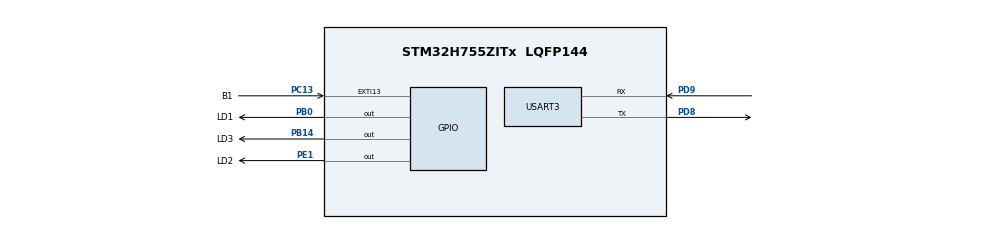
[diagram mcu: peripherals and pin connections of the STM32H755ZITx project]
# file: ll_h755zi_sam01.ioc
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CortexM4.IPs=BDMA,CORTEX_M4\:I,DMA,FATFS_M4\:I,FREERTOS_M4\:I,GPIO,IWDG2\:I,MDMA,NVIC2\:I,OPENAMP_M4\:I,PDM2PCM_M4\:I,PWR,RCC,RESMGR_UTILITY,SYS_M4\:I,USB_DEVICE_M4\:I,USB_HOST_M4\:I,VREFBUF,WWDG2\:I
CortexM4.Pins=PC13,PB0,PB14
CortexM7.IPs=BDMA\:I,CORTEX_M7\:I,DMA\:I,FATFS_M7\:I,FREERTOS_M7\:I,GPIO\:I,IWDG1\:I,MDMA\:I,NVIC1\:I,OPENAMP_M7\:I,PDM2PCM_M7\:I,PWR\:I,RCC\:I,RESMGR_UTILITY\:I,SYS\:I,USB_DEVICE_M7\:I,USB_HOST_M7\:I,VREFBUF\:I,WWDG1\:I,USART3\:I
CortexM7.Pins=PE1
Mcu.Family=STM32H7
Mcu.Name=STM32H755ZITx
Mcu.Package=LQFP144
NVIC1.PriorityGroup=NVIC_PRIORITYGROUP_4
NVIC1.USART3_IRQn=true\:0\:0\:false\:false\:true\:true\:true\:true
NVIC2.EXTI15_10_IRQn=true\:0\:0\:false\:false\:true\:true\:true\:true
NVIC2.PriorityGroup=NVIC_PRIORITYGROUP_4
PB0.GPIO_Label=LD1
PB0.PinAttribute=CortexM4
PB0.Signal=GPIO_Output
PB14.GPIO_Label=LD3
PB14.PinAttribute=CortexM4
PB14.Signal=GPIO_Output
PC13.GPIO_Label=B1
PC13.PinAttribute=CortexM4
PC13.Signal=GPXTI13
PD8.Mode=Asynchronous
PD8.PinAttribute=CortexM7
PD8.Signal=USART3_TX
PD9.Mode=Asynchronous
PD9.PinAttribute=CortexM7
PD9.Signal=USART3_RX
PE1.GPIO_Label=LD2
PE1.PinAttribute=CortexM7
PE1.Signal=GPIO_Output
ProjectManager.HeapSize=M4-0x200,M7-0x200
ProjectManager.StackSize=M4-0x400,M7-0x400
ProjectManager.TargetToolchain=STM32CubeIDE
RCC.ADCFreq_Value=129000000
RCC.APB1Freq_Value=100000000
RCC.APB2Freq_Value=100000000
RCC.APB3Freq_Value=100000000
RCC.APB4Freq_Value=100000000
RCC.CortexFreq_Value=400000000
RCC.D1PPRE=RCC_APB3_DIV2
RCC.D2PPRE1=RCC_APB1_DIV2
RCC.D2PPRE2=RCC_APB2_DIV2
RCC.D3PPRE=RCC_APB4_DIV2
RCC.DIVM1=4
RCC.DIVN1=50
RCC.HCLKFreq_Value=200000000
RCC.HPRE=RCC_HCLK_DIV2
RCC.SYSCLKFreq_VALUE=400000000
RCC.SYSCLKSource=RCC_SYSCLKSOURCE_PLLCLK
RCC.SupplySource=PWR_DIRECT_SMPS_SUPPLY
RCC.USBFreq_Value=400000000
SYS.userName=SYS_M7
USART3.VirtualMode-Asynchronous=VM_ASYNC
VP_SYS_M4_VS_Systick.Mode=SysTick
board=custom

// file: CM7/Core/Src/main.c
/* USER CODE BEGIN Header */
/**
  ******************************************************************************
  * @file           : main.c
  * @brief          : Main program body
  ******************************************************************************
  * @attention
  *
  * Copyright (c) 2024 STMicroelectronics.
  * All rights reserved.
  *
  * This software is licensed under terms that can be found in the LICENSE file
  * in the root directory of this software component.
  * If no LICENSE file comes with this software, it is provided AS-IS.
  *
  ******************************************************************************
  */
/* USER CODE END Header */
#include "main.h"

/* USER CODE BEGIN Includes */
#include "drv.h"
#include "lib.h"
/* USER CODE END Includes */

/* USER CODE BEGIN PD */

#ifndef HSEM_ID_0
#define HSEM_ID_0 (0U) /* HW semaphore 0*/
#endif

/* USER CODE END PD */

/* USER CODE BEGIN PV */
volatile static uint32_t u32s_CycleTimeCounter;		/* 周期時間カウンター			*/
/* USER CODE END PV */

void SystemClock_Config(void);
static void MX_GPIO_Init(void);
static void MX_USART3_UART_Init(void);

/* USER CODE BEGIN 0 */

/**
  * @brief  SysTickタイマ経過コールバック関数
  * @param  None
  * @retval None
  */
void SYSTICK_PeriodElapsed_Callback(void)
{
	u32s_CycleTimeCounter++;
}

/* USER CODE END 0 */

int main(void)
{

  /* MCU Configuration--------------------------------------------------------*/

  /* Reset of all peripherals, Initializes the Flash interface and the Systick. */
  LL_APB4_GRP1_EnableClock(LL_APB4_GRP1_PERIPH_SYSCFG);

  /* System interrupt init*/
  NVIC_SetPriorityGrouping(NVIC_PRIORITYGROUP_4);

  /* SysTick_IRQn interrupt configuration */
  NVIC_SetPriority(SysTick_IRQn, NVIC_EncodePriority(NVIC_GetPriorityGrouping(),15, 0));

  /* USER CODE BEGIN Init */
	u32s_CycleTimeCounter = 0;
  /* USER CODE END Init */

  /* Configure the system clock */
  SystemClock_Config();

  /* USER CODE BEGIN SysInit */
	/* HSEMのクロックを有効化 */
	LL_AHB4_GRP1_EnableClock(LL_AHB4_GRP1_PERIPH_HSEM);

	/* タイマー初期化処理 */
	taskTimerInit();
  /* USER CODE END SysInit */

  /* Initialize all configured peripherals */
  MX_GPIO_Init();
  MX_USART3_UART_Init();
  /* USER CODE BEGIN 2 */
	/* UARTドライバー初期化処理 */
	taskUartDriverInit();
	/* SYNCドライバー初期化処理 */
	taskSyncDriverInit();
	/* 初期化関数 */
	setup();

	/* SysTickタイマー開始(1msタイマー割り込み用) */
	LL_SYSTICK_EnableIT();
  /* USER CODE END 2 */

  /* Infinite loop */
  /* USER CODE BEGIN WHILE */
	while (true) {
    /* USER CODE END WHILE */

    /* USER CODE BEGIN 3 */
		/* 周期時間カウンターがシステムの周期時間[ms]に達した場合 */
		if (u32s_CycleTimeCounter >= SYS_CYCLE_TIME) {
			/* Disable Interrupts */
			__disable_irq();
			u32s_CycleTimeCounter = 0;
			/* Enable Interrupts */
			__enable_irq();

			/* タイマー更新処理 */
			taskTimerUpdate();
			/* UARTドライバー入力処理 */
			taskUartDriverInput();
			/* SYNCドライバー入力処理 */
			taskSyncDriverInput();
			/* 周期処理関数 */
			loop();
			/* UARTドライバー出力処理 */
			taskUartDriverOutput();
			/* SYNCドライバー出力処理 */
			taskSyncDriverOutput();
		}
	}
  /* USER CODE END 3 */
}

void SystemClock_Config(void)
{
  LL_FLASH_SetLatency(LL_FLASH_LATENCY_2);
  while(LL_FLASH_GetLatency()!= LL_FLASH_LATENCY_2)
  {
  }
  LL_PWR_ConfigSupply(LL_PWR_DIRECT_SMPS_SUPPLY);
  LL_PWR_SetRegulVoltageScaling(LL_PWR_REGU_VOLTAGE_SCALE1);
  while (LL_PWR_IsActiveFlag_VOS() == 0)
  {
  }
  LL_RCC_HSI_Enable();

   /* Wait till HSI is ready */
  while(LL_RCC_HSI_IsReady() != 1)
  {

  }
  LL_RCC_HSI_SetCalibTrimming(64);
  LL_RCC_HSI_SetDivider(LL_RCC_HSI_DIV1);
  LL_RCC_PLL_SetSource(LL_RCC_PLLSOURCE_HSI);
  LL_RCC_PLL1P_Enable();
  LL_RCC_PLL1_SetVCOInputRange(LL_RCC_PLLINPUTRANGE_8_16);
  LL_RCC_PLL1_SetVCOOutputRange(LL_RCC_PLLVCORANGE_WIDE);
  LL_RCC_PLL1_SetM(4);
  LL_RCC_PLL1_SetN(50);
  LL_RCC_PLL1_SetP(2);
  LL_RCC_PLL1_SetQ(2);
  LL_RCC_PLL1_SetR(2);
  LL_RCC_PLL1_Enable();

   /* Wait till PLL is ready */
  while(LL_RCC_PLL1_IsReady() != 1)
  {
  }

   /* Intermediate AHB prescaler 2 when target frequency clock is higher than 80 MHz */
   LL_RCC_SetAHBPrescaler(LL_RCC_AHB_DIV_2);

  LL_RCC_SetSysClkSource(LL_RCC_SYS_CLKSOURCE_PLL1);

   /* Wait till System clock is ready */
  while(LL_RCC_GetSysClkSource() != LL_RCC_SYS_CLKSOURCE_STATUS_PLL1)
  {

  }
  LL_RCC_SetSysPrescaler(LL_RCC_SYSCLK_DIV_1);
  LL_RCC_SetAHBPrescaler(LL_RCC_AHB_DIV_2);
  LL_RCC_SetAPB1Prescaler(LL_RCC_APB1_DIV_2);
  LL_RCC_SetAPB2Prescaler(LL_RCC_APB2_DIV_2);
  LL_RCC_SetAPB3Prescaler(LL_RCC_APB3_DIV_2);
  LL_RCC_SetAPB4Prescaler(LL_RCC_APB4_DIV_2);

  LL_Init1msTick(400000000);

  LL_SetSystemCoreClock(400000000);
}

static void MX_USART3_UART_Init(void)
{

  LL_USART_InitTypeDef USART_InitStruct = {0};

  LL_GPIO_InitTypeDef GPIO_InitStruct = {0};

  LL_RCC_SetUSARTClockSource(LL_RCC_USART234578_CLKSOURCE_PCLK1);

  /* Peripheral clock enable */
  LL_APB1_GRP1_EnableClock(LL_APB1_GRP1_PERIPH_USART3);

  LL_AHB4_GRP1_EnableClock(LL_AHB4_GRP1_PERIPH_GPIOD);
  /**USART3 GPIO Configuration
  PD8   ------> USART3_TX
  PD9   ------> USART3_RX
  */
  GPIO_InitStruct.Pin = LL_GPIO_PIN_8|LL_GPIO_PIN_9;
  GPIO_InitStruct.Mode = LL_GPIO_MODE_ALTERNATE;
  GPIO_InitStruct.Speed = LL_GPIO_SPEED_FREQ_LOW;
  GPIO_InitStruct.OutputType = LL_GPIO_OUTPUT_PUSHPULL;
  GPIO_InitStruct.Pull = LL_GPIO_PULL_NO;
  GPIO_InitStruct.Alternate = LL_GPIO_AF_7;
  LL_GPIO_Init(GPIOD, &GPIO_InitStruct);

  /* USART3 interrupt Init */
  NVIC_SetPriority(USART3_IRQn, NVIC_EncodePriority(NVIC_GetPriorityGrouping(),0, 0));
  NVIC_EnableIRQ(USART3_IRQn);

  USART_InitStruct.PrescalerValue = LL_USART_PRESCALER_DIV1;
  USART_InitStruct.BaudRate = 115200;
  USART_InitStruct.DataWidth = LL_USART_DATAWIDTH_8B;
  USART_InitStruct.StopBits = LL_USART_STOPBITS_1;
  USART_InitStruct.Parity = LL_USART_PARITY_NONE;
  USART_InitStruct.TransferDirection = LL_USART_DIRECTION_TX_RX;
  USART_InitStruct.HardwareFlowControl = LL_USART_HWCONTROL_NONE;
  USART_InitStruct.OverSampling = LL_USART_OVERSAMPLING_16;
  LL_USART_Init(USART3, &USART_InitStruct);
  LL_USART_SetTXFIFOThreshold(USART3, LL_USART_FIFOTHRESHOLD_1_8);
  LL_USART_SetRXFIFOThreshold(USART3, LL_USART_FIFOTHRESHOLD_1_8);
  LL_USART_DisableFIFO(USART3);
  LL_USART_ConfigAsyncMode(USART3);

  LL_USART_Enable(USART3);

  /* Polling USART3 initialisation */
  while((!(LL_USART_IsActiveFlag_TEACK(USART3))) || (!(LL_USART_IsActiveFlag_REACK(USART3))))
  {
  }

}

static void MX_GPIO_Init(void)
{
  LL_GPIO_InitTypeDef GPIO_InitStruct = {0};

  /* GPIO Ports Clock Enable */
  LL_AHB4_GRP1_EnableClock(LL_AHB4_GRP1_PERIPH_GPIOD);
  LL_AHB4_GRP1_EnableClock(LL_AHB4_GRP1_PERIPH_GPIOE);

  /**/
  LL_GPIO_ResetOutputPin(LD2_GPIO_Port, LD2_Pin);

  /**/
  GPIO_InitStruct.Pin = LD2_Pin;
  GPIO_InitStruct.Mode = LL_GPIO_MODE_OUTPUT;
  GPIO_InitStruct.Speed = LL_GPIO_SPEED_FREQ_LOW;
  GPIO_InitStruct.OutputType = LL_GPIO_OUTPUT_PUSHPULL;
  GPIO_InitStruct.Pull = LL_GPIO_PULL_NO;
  LL_GPIO_Init(LD2_GPIO_Port, &GPIO_InitStruct);

}

void Error_Handler(void)
{
  /* USER CODE BEGIN Error_Handler_Debug */
	/* User can add his own implementation to report the HAL error return state */
	__disable_irq();
	while (1) {
		/* ユーザーLEDを反転出力する */
		LL_GPIO_TogglePin(LD2_GPIO_Port, LD2_Pin);
		/* 100ms待つ */
		LL_mDelay(100);
	}
  /* USER CODE END Error_Handler_Debug */
}
